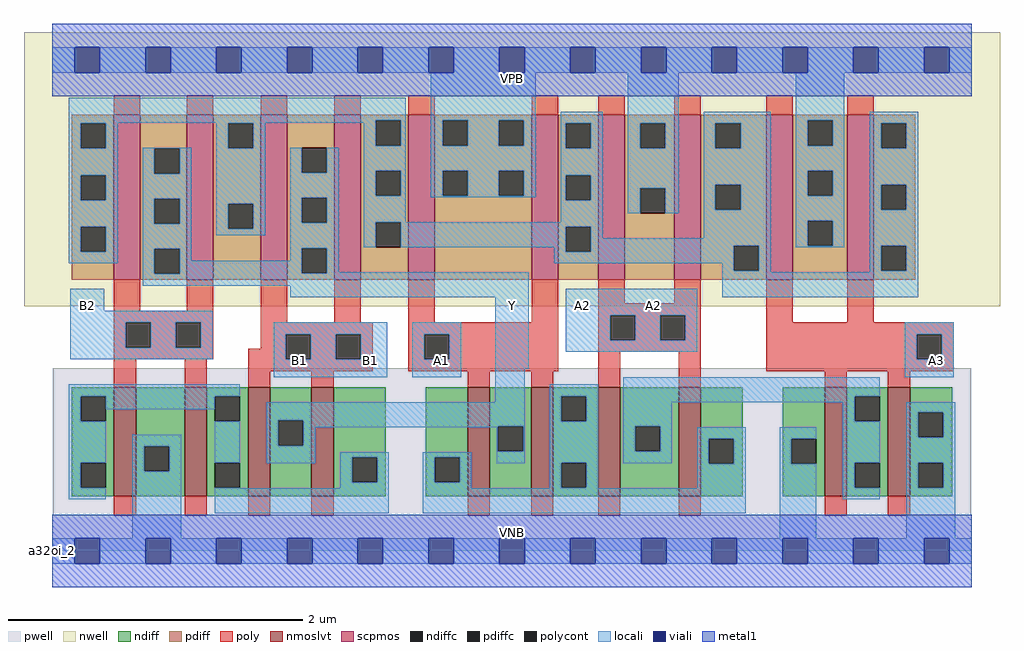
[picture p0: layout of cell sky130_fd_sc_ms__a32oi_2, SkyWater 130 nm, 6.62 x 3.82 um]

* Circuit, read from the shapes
.subckt sky130_fd_sc_ms__a32oi_2 A1 A2 A3 B1 B2 VGND VNB VPB VPWR Y
XM1 VGND B2 n1 VNB sky130_fd_pr__nfet_01v8_lvt w=0.74 l=0.15 m=2
XM2 Y B1 n1 VNB sky130_fd_pr__nfet_01v8_lvt w=0.74 l=0.15 m=2
XM3 Y A1 n2 VNB sky130_fd_pr__nfet_01v8_lvt w=0.74 l=0.15 m=2
XM4 n3 A2 n2 VNB sky130_fd_pr__nfet_01v8_lvt w=0.74 l=0.15 m=2
XM5 n3 A3 VGND VNB sky130_fd_pr__nfet_01v8_lvt w=0.74 l=0.15 m=2
XM6 Y B2 n4 VPB sky130_fd_pr__pfet_01v8 w=1.12 l=0.18 m=2
XM7 Y B1 n4 VPB sky130_fd_pr__pfet_01v8 w=1.12 l=0.18 m=2
XM8 VPWR A1 n4 VPB sky130_fd_pr__pfet_01v8 w=1.12 l=0.18 m=2
XM9 VPWR A2 n4 VPB sky130_fd_pr__pfet_01v8 w=1.12 l=0.18 m=2
XM10 VPWR A3 n4 VPB sky130_fd_pr__pfet_01v8 w=1.12 l=0.18 m=2
.ends

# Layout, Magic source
magic
tech sky130A
magscale 1 2
<< nwell >>
rect -38 332 1286 704
<< pwell >>
rect 1 49 1247 248
rect 0 0 1248 49
<< scpmos >>
rect 84 368 120 592
rect 183 368 219 592
rect 283 368 319 592
rect 383 368 419 592
rect 483 368 519 592
rect 651 368 687 592
rect 741 368 777 592
rect 844 368 880 592
rect 969 368 1005 592
rect 1079 368 1115 592
<< nmoslvt >>
rect 84 74 114 222
rect 180 74 210 222
rect 266 74 296 222
rect 352 74 382 222
rect 564 74 594 222
rect 650 74 680 222
rect 741 74 771 222
rect 850 74 880 222
rect 1048 74 1078 222
rect 1134 74 1164 222
<< ndiff >>
rect 27 210 84 222
rect 27 176 39 210
rect 73 176 84 210
rect 27 120 84 176
rect 27 86 39 120
rect 73 86 84 120
rect 27 74 84 86
rect 114 142 180 222
rect 114 108 125 142
rect 159 108 180 142
rect 114 74 180 108
rect 210 210 266 222
rect 210 176 221 210
rect 255 176 266 210
rect 210 120 266 176
rect 210 86 221 120
rect 255 86 266 120
rect 210 74 266 86
rect 296 177 352 222
rect 296 143 307 177
rect 341 143 352 177
rect 296 74 352 143
rect 382 127 453 222
rect 382 93 407 127
rect 441 93 453 127
rect 382 74 453 93
rect 507 127 564 222
rect 507 93 519 127
rect 553 93 564 127
rect 507 74 564 93
rect 594 169 650 222
rect 594 135 605 169
rect 639 135 650 169
rect 594 74 650 135
rect 680 210 741 222
rect 680 176 691 210
rect 725 176 741 210
rect 680 120 741 176
rect 680 86 691 120
rect 725 86 741 120
rect 680 74 741 86
rect 771 169 850 222
rect 771 135 791 169
rect 825 135 850 169
rect 771 74 850 135
rect 880 152 937 222
rect 880 118 891 152
rect 925 118 937 152
rect 880 74 937 118
rect 991 152 1048 222
rect 991 118 1003 152
rect 1037 118 1048 152
rect 991 74 1048 118
rect 1078 210 1134 222
rect 1078 176 1089 210
rect 1123 176 1134 210
rect 1078 120 1134 176
rect 1078 86 1089 120
rect 1123 86 1134 120
rect 1078 74 1134 86
rect 1164 188 1221 222
rect 1164 154 1175 188
rect 1209 154 1221 188
rect 1164 120 1221 154
rect 1164 86 1175 120
rect 1209 86 1221 120
rect 1164 74 1221 86
<< pdiff >>
rect 27 580 84 592
rect 27 546 39 580
rect 73 546 84 580
rect 27 510 84 546
rect 27 476 39 510
rect 73 476 84 510
rect 27 440 84 476
rect 27 406 39 440
rect 73 406 84 440
rect 27 368 84 406
rect 120 546 183 592
rect 120 512 139 546
rect 173 512 183 546
rect 120 478 183 512
rect 120 444 139 478
rect 173 444 183 478
rect 120 410 183 444
rect 120 376 139 410
rect 173 376 183 410
rect 120 368 183 376
rect 219 580 283 592
rect 219 546 239 580
rect 273 546 283 580
rect 219 471 283 546
rect 219 437 239 471
rect 273 437 283 471
rect 219 368 283 437
rect 319 547 383 592
rect 319 513 339 547
rect 373 513 383 547
rect 319 479 383 513
rect 319 445 339 479
rect 373 445 383 479
rect 319 411 383 445
rect 319 377 339 411
rect 373 377 383 411
rect 319 368 383 377
rect 419 584 483 592
rect 419 550 439 584
rect 473 550 483 584
rect 419 516 483 550
rect 419 482 439 516
rect 473 482 483 516
rect 419 446 483 482
rect 419 412 439 446
rect 473 412 483 446
rect 419 368 483 412
rect 519 584 651 592
rect 519 550 530 584
rect 564 550 606 584
rect 640 550 651 584
rect 519 516 651 550
rect 519 482 530 516
rect 564 482 606 516
rect 640 482 651 516
rect 519 368 651 482
rect 687 580 741 592
rect 687 546 697 580
rect 731 546 741 580
rect 687 510 741 546
rect 687 476 697 510
rect 731 476 741 510
rect 687 440 741 476
rect 687 406 697 440
rect 731 406 741 440
rect 687 368 741 406
rect 777 580 844 592
rect 777 546 798 580
rect 832 546 844 580
rect 777 492 844 546
rect 777 458 798 492
rect 832 458 844 492
rect 777 368 844 458
rect 880 580 969 592
rect 880 546 900 580
rect 934 546 969 580
rect 880 497 969 546
rect 880 463 900 497
rect 934 463 969 497
rect 880 414 969 463
rect 880 380 925 414
rect 959 380 969 414
rect 880 368 969 380
rect 1005 584 1079 592
rect 1005 550 1025 584
rect 1059 550 1079 584
rect 1005 516 1079 550
rect 1005 482 1025 516
rect 1059 482 1079 516
rect 1005 448 1079 482
rect 1005 414 1025 448
rect 1059 414 1079 448
rect 1005 368 1079 414
rect 1115 580 1171 592
rect 1115 546 1125 580
rect 1159 546 1171 580
rect 1115 497 1171 546
rect 1115 463 1125 497
rect 1159 463 1171 497
rect 1115 414 1171 463
rect 1115 380 1125 414
rect 1159 380 1171 414
rect 1115 368 1171 380
<< ndiffc >>
rect 39 176 73 210
rect 39 86 73 120
rect 125 108 159 142
rect 221 176 255 210
rect 221 86 255 120
rect 307 143 341 177
rect 407 93 441 127
rect 519 93 553 127
rect 605 135 639 169
rect 691 176 725 210
rect 691 86 725 120
rect 791 135 825 169
rect 891 118 925 152
rect 1003 118 1037 152
rect 1089 176 1123 210
rect 1089 86 1123 120
rect 1175 154 1209 188
rect 1175 86 1209 120
<< pdiffc >>
rect 39 546 73 580
rect 39 476 73 510
rect 39 406 73 440
rect 139 512 173 546
rect 139 444 173 478
rect 139 376 173 410
rect 239 546 273 580
rect 239 437 273 471
rect 339 513 373 547
rect 339 445 373 479
rect 339 377 373 411
rect 439 550 473 584
rect 439 482 473 516
rect 439 412 473 446
rect 530 550 564 584
rect 606 550 640 584
rect 530 482 564 516
rect 606 482 640 516
rect 697 546 731 580
rect 697 476 731 510
rect 697 406 731 440
rect 798 546 832 580
rect 798 458 832 492
rect 900 546 934 580
rect 900 463 934 497
rect 925 380 959 414
rect 1025 550 1059 584
rect 1025 482 1059 516
rect 1025 414 1059 448
rect 1125 546 1159 580
rect 1125 463 1159 497
rect 1125 380 1159 414
<< poly >>
rect 84 592 120 618
rect 183 592 219 618
rect 283 592 319 618
rect 383 592 419 618
rect 483 592 519 618
rect 651 592 687 618
rect 741 592 777 618
rect 844 592 880 618
rect 969 592 1005 618
rect 1079 592 1115 618
rect 84 326 120 368
rect 183 326 219 368
rect 84 310 219 326
rect 84 276 100 310
rect 134 276 168 310
rect 202 276 219 310
rect 84 260 219 276
rect 283 310 319 368
rect 383 310 419 368
rect 483 310 519 368
rect 651 310 687 368
rect 283 294 435 310
rect 283 274 317 294
rect 266 260 317 274
rect 351 260 385 294
rect 419 260 435 294
rect 84 222 114 260
rect 180 222 210 260
rect 266 244 435 260
rect 483 294 687 310
rect 483 260 505 294
rect 539 260 687 294
rect 483 244 687 260
rect 741 336 777 368
rect 844 336 880 368
rect 741 320 880 336
rect 741 286 757 320
rect 791 286 825 320
rect 859 286 880 320
rect 741 270 880 286
rect 266 222 296 244
rect 352 222 382 244
rect 564 222 594 244
rect 650 222 680 244
rect 741 222 771 270
rect 850 222 880 270
rect 969 310 1005 368
rect 1079 310 1115 368
rect 969 294 1223 310
rect 969 260 1173 294
rect 1207 260 1223 294
rect 969 244 1223 260
rect 1048 222 1078 244
rect 1134 222 1164 244
rect 84 48 114 74
rect 180 48 210 74
rect 266 48 296 74
rect 352 48 382 74
rect 564 48 594 74
rect 650 48 680 74
rect 741 48 771 74
rect 850 48 880 74
rect 1048 48 1078 74
rect 1134 48 1164 74
<< polycont >>
rect 100 276 134 310
rect 168 276 202 310
rect 317 260 351 294
rect 385 260 419 294
rect 505 260 539 294
rect 757 286 791 320
rect 825 286 859 320
rect 1173 260 1207 294
<< locali >>
rect 0 649 31 683
rect 65 649 127 683
rect 161 649 223 683
rect 257 649 319 683
rect 353 649 415 683
rect 449 649 511 683
rect 545 649 607 683
rect 641 649 703 683
rect 737 649 799 683
rect 833 649 895 683
rect 929 649 991 683
rect 1025 649 1087 683
rect 1121 649 1183 683
rect 1217 649 1248 683
rect 23 584 480 615
rect 23 581 439 584
rect 23 580 89 581
rect 23 546 39 580
rect 73 546 89 580
rect 223 580 289 581
rect 23 510 89 546
rect 23 476 39 510
rect 73 476 89 510
rect 23 440 89 476
rect 23 406 39 440
rect 73 406 89 440
rect 23 390 89 406
rect 123 546 189 547
rect 123 512 139 546
rect 173 512 189 546
rect 123 478 189 512
rect 123 444 139 478
rect 173 444 189 478
rect 123 410 189 444
rect 223 546 239 580
rect 273 546 289 580
rect 423 550 439 581
rect 473 550 480 584
rect 223 471 289 546
rect 223 437 239 471
rect 273 437 289 471
rect 223 428 289 437
rect 323 513 339 547
rect 373 513 389 547
rect 323 479 389 513
rect 323 445 339 479
rect 373 445 389 479
rect 123 376 139 410
rect 173 394 189 410
rect 323 411 389 445
rect 423 516 480 550
rect 423 482 439 516
rect 473 482 480 516
rect 423 446 480 482
rect 514 584 656 649
rect 514 550 530 584
rect 564 550 606 584
rect 640 550 656 584
rect 514 516 656 550
rect 514 482 530 516
rect 564 482 606 516
rect 640 482 656 516
rect 514 480 656 482
rect 690 580 747 596
rect 690 546 697 580
rect 731 546 747 580
rect 690 510 747 546
rect 690 476 697 510
rect 731 476 747 510
rect 690 446 747 476
rect 781 580 850 649
rect 781 546 798 580
rect 832 546 850 580
rect 781 492 850 546
rect 781 458 798 492
rect 832 458 850 492
rect 884 580 975 596
rect 884 546 900 580
rect 934 546 975 580
rect 884 497 975 546
rect 884 463 900 497
rect 934 463 975 497
rect 423 412 439 446
rect 473 440 747 446
rect 473 412 697 440
rect 323 394 339 411
rect 173 377 339 394
rect 373 378 389 411
rect 681 406 697 412
rect 731 424 747 440
rect 884 424 975 463
rect 731 414 975 424
rect 731 406 925 414
rect 681 390 925 406
rect 909 380 925 390
rect 959 380 975 414
rect 1009 584 1075 649
rect 1009 550 1025 584
rect 1059 550 1075 584
rect 1009 516 1075 550
rect 1009 482 1025 516
rect 1059 482 1075 516
rect 1009 448 1075 482
rect 1009 414 1025 448
rect 1059 414 1075 448
rect 1009 412 1075 414
rect 1109 580 1175 596
rect 1109 546 1125 580
rect 1159 546 1175 580
rect 1109 497 1175 546
rect 1109 463 1125 497
rect 1159 463 1175 497
rect 1109 414 1175 463
rect 909 378 975 380
rect 1109 380 1125 414
rect 1159 380 1175 414
rect 1109 378 1175 380
rect 373 377 647 378
rect 173 376 647 377
rect 123 360 647 376
rect 25 326 71 356
rect 323 344 647 360
rect 25 310 218 326
rect 25 276 100 310
rect 134 276 168 310
rect 202 276 218 310
rect 25 260 218 276
rect 301 294 455 310
rect 301 260 317 294
rect 351 260 385 294
rect 419 260 455 294
rect 301 236 455 260
rect 489 294 555 310
rect 489 260 505 294
rect 539 260 555 294
rect 489 236 555 260
rect 601 247 647 344
rect 697 320 875 356
rect 909 344 1175 378
rect 697 286 757 320
rect 791 286 825 320
rect 859 286 875 320
rect 697 270 875 286
rect 1157 294 1223 310
rect 1157 260 1173 294
rect 1207 260 1223 294
rect 23 210 255 226
rect 23 176 39 210
rect 73 192 221 210
rect 23 120 73 176
rect 601 202 641 247
rect 1157 236 1223 260
rect 23 86 39 120
rect 23 70 73 86
rect 109 142 175 158
rect 109 108 125 142
rect 159 108 175 142
rect 109 17 175 108
rect 221 120 255 176
rect 291 177 641 202
rect 291 143 307 177
rect 341 169 641 177
rect 341 168 605 169
rect 341 143 357 168
rect 291 119 357 143
rect 603 135 605 168
rect 639 135 641 169
rect 391 127 457 134
rect 221 85 255 86
rect 391 93 407 127
rect 441 93 457 127
rect 391 85 457 93
rect 221 51 457 85
rect 503 127 569 134
rect 503 93 519 127
rect 553 93 569 127
rect 603 119 641 135
rect 675 210 741 226
rect 675 176 691 210
rect 725 176 741 210
rect 675 120 741 176
rect 503 85 569 93
rect 675 86 691 120
rect 725 86 741 120
rect 775 210 1123 236
rect 775 202 1089 210
rect 775 169 841 202
rect 775 135 791 169
rect 825 135 841 169
rect 1073 176 1089 202
rect 775 119 841 135
rect 875 152 941 168
rect 675 85 741 86
rect 875 118 891 152
rect 925 118 941 152
rect 875 85 941 118
rect 503 51 941 85
rect 987 152 1037 168
rect 987 118 1003 152
rect 987 17 1037 118
rect 1073 120 1123 176
rect 1073 86 1089 120
rect 1073 70 1123 86
rect 1159 188 1225 202
rect 1159 154 1175 188
rect 1209 154 1225 188
rect 1159 120 1225 154
rect 1159 86 1175 120
rect 1209 86 1225 120
rect 1159 17 1225 86
rect 0 -17 31 17
rect 65 -17 127 17
rect 161 -17 223 17
rect 257 -17 319 17
rect 353 -17 415 17
rect 449 -17 511 17
rect 545 -17 607 17
rect 641 -17 703 17
rect 737 -17 799 17
rect 833 -17 895 17
rect 929 -17 991 17
rect 1025 -17 1087 17
rect 1121 -17 1183 17
rect 1217 -17 1248 17
<< viali >>
rect 31 649 65 683
rect 127 649 161 683
rect 223 649 257 683
rect 319 649 353 683
rect 415 649 449 683
rect 511 649 545 683
rect 607 649 641 683
rect 703 649 737 683
rect 799 649 833 683
rect 895 649 929 683
rect 991 649 1025 683
rect 1087 649 1121 683
rect 1183 649 1217 683
rect 31 -17 65 17
rect 127 -17 161 17
rect 223 -17 257 17
rect 319 -17 353 17
rect 415 -17 449 17
rect 511 -17 545 17
rect 607 -17 641 17
rect 703 -17 737 17
rect 799 -17 833 17
rect 895 -17 929 17
rect 991 -17 1025 17
rect 1087 -17 1121 17
rect 1183 -17 1217 17
<< metal1 >>
rect 0 683 1248 715
rect 0 649 31 683
rect 65 649 127 683
rect 161 649 223 683
rect 257 649 319 683
rect 353 649 415 683
rect 449 649 511 683
rect 545 649 607 683
rect 641 649 703 683
rect 737 649 799 683
rect 833 649 895 683
rect 929 649 991 683
rect 1025 649 1087 683
rect 1121 649 1183 683
rect 1217 649 1248 683
rect 0 617 1248 649
rect 0 17 1248 49
rect 0 -17 31 17
rect 65 -17 127 17
rect 161 -17 223 17
rect 257 -17 319 17
rect 353 -17 415 17
rect 449 -17 511 17
rect 545 -17 607 17
rect 641 -17 703 17
rect 737 -17 799 17
rect 833 -17 895 17
rect 929 -17 991 17
rect 1025 -17 1087 17
rect 1121 -17 1183 17
rect 1217 -17 1248 17
rect 0 -49 1248 -17
<< labels >>
flabel pwell s 0 0 1248 49 0 FreeSans 200 0 0 0 VNB
port 7 nsew ground bidirectional
flabel nwell s 0 617 1248 666 0 FreeSans 200 0 0 0 VPB
port 8 nsew power bidirectional
rlabel comment s 0 0 0 0 4 a32oi_2
flabel metal1 s 0 617 1248 666 0 FreeSans 340 0 0 0 VPWR
port 9 nsew power bidirectional
flabel metal1 s 0 0 1248 49 0 FreeSans 340 0 0 0 VGND
port 6 nsew ground bidirectional
flabel locali s 31 316 65 350 0 FreeSans 340 0 0 0 B2
port 5 nsew signal input
flabel locali s 319 242 353 276 0 FreeSans 340 0 0 0 B1
port 4 nsew signal input
flabel locali s 415 242 449 276 0 FreeSans 340 0 0 0 B1
port 4 nsew signal input
flabel locali s 1183 242 1217 276 0 FreeSans 340 0 0 0 A3
port 3 nsew signal input
flabel locali s 703 316 737 350 0 FreeSans 340 0 0 0 A2
port 2 nsew signal input
flabel locali s 799 316 833 350 0 FreeSans 340 0 0 0 A2
port 2 nsew signal input
flabel locali s 511 242 545 276 0 FreeSans 340 0 0 0 A1
port 1 nsew signal input
flabel locali s 607 316 641 350 0 FreeSans 340 0 0 0 Y
port 10 nsew signal output
<< properties >>
string LEFsite unit
string LEFclass CORE
string FIXED_BBOX 0 0 1248 666
string GDS_FILE $PDKPATH/libs.ref/sky130_fd_sc_ms/gds/sky130_fd_sc_ms.gds
string LEFsymmetry X Y
string GDS_END 78186
string GDS_START 68012
<< end >>
